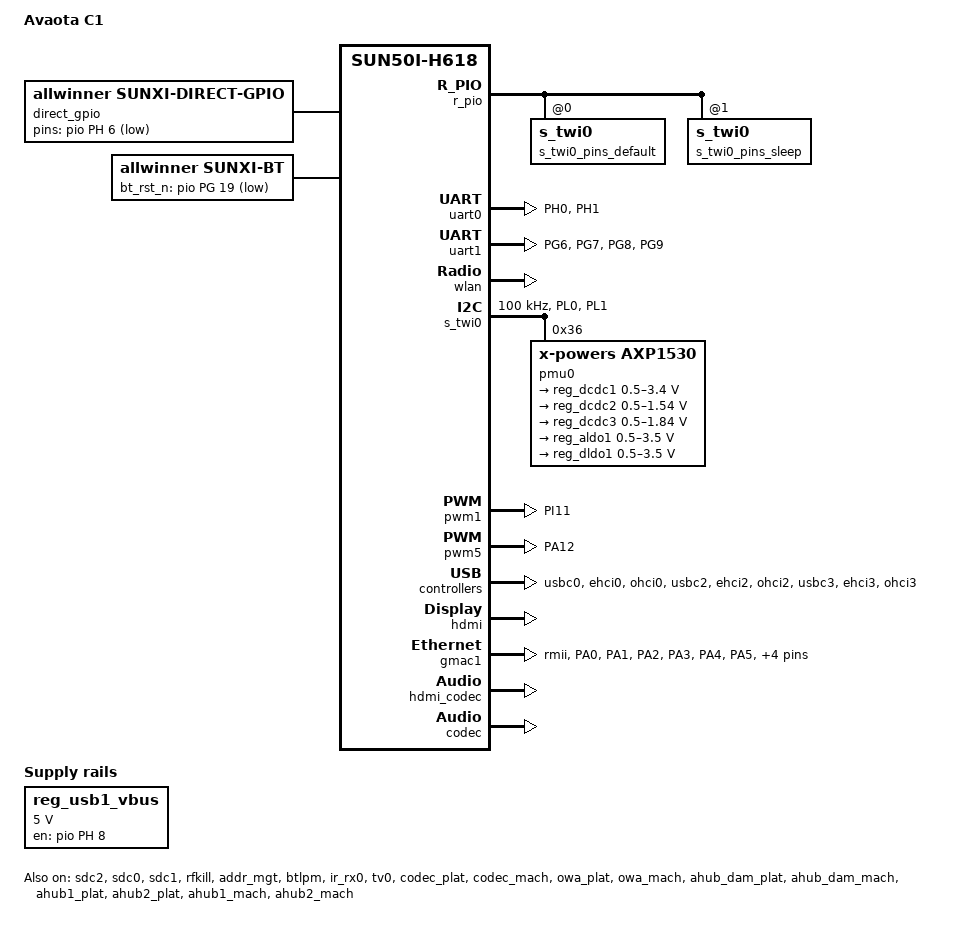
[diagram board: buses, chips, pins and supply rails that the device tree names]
// SPDX-License-Identifier: (GPL-2.0+ or MIT)

/dts-v1/;

#include "sun50i-h618.dtsi"

/{
    model = "Avaota C1";
	board = "H618", "H618-AXP313A";
	compatible = "allwinner,h618", "arm,sun50iw9p1";
	aliases {
		pmu0 = &pmu0;
		standby_param = &standby_param;
		hdmi = &hdmi;
		tv0  = &tv0;
	};

	reg_usb1_vbus: usb1-vbus {
		compatible = "regulator-fixed";
		gpio = <&pio PH 8 GPIO_ACTIVE_HIGH>;
		regulator-name = "usb1-vbus";
		regulator-min-microvolt = <5000000>;
		regulator-max-microvolt = <5000000>;
		regulator-enable-ramp-delay = <1000>;
		enable-active-high;
	};

	ac_power_supply: ac_power_supply {
		compatible = "sunxi-virtual-ac-power-supply";
		status = "okay";
	};
};

&cpu0 {
	cpu-supply = <&reg_dcdc2>;
};

&pio {
	vcc-pg-supply = <&reg_pio1_8>;

	uart0_pins_active: uart0_pins@0 {
		pins = "PH0", "PH1";
		function = "uart0";
		bias-pull-up;
	};

	uart0_pins_sleep: uart0_pins@1 {
		pins = "PH0", "PH1";
		function = "gpio_in";
	};

	uart1_pins_active: uart1_pins@0 {
		pins = "PG6", "PG7", "PG8", "PG9";
		function = "uart1";
	};

	uart1_pins_sleep: uart1_pins@1 {
		pins = "PG6", "PG7", "PG8", "PG9";
		function = "gpio_in";
	};

	uart2_pins_active: uart2_pins@0 {
		pins = "PG15", "PG16", "PG17", "PG18";
		function = "uart2";
	};
	uart2_pins_sleep: uart2_pins@1 {
		pins = "PG15", "PG16", "PG17", "PG18";
		function = "gpio_in";
	};

	uart3_pins_active: uart3_pins@0 {
		pins = "PI9", "PI10", "PI11", "PI12";
		function = "uart3";
	};
	uart3_pins_sleep: uart3_pins@1 {
		pins = "PI9", "PI10", "PI11", "PI12";
		function = "gpio_in";
	};

	uart4_pins_active: uart4_pins@0 {
		pins = "PI13", "PI14", "PI15", "PI16";
		function = "uart4";
	};
	uart4_pins_sleep: uart4_pins@1 {
		pins = "PI13", "PI14", "PI15", "PI16";
		function = "gpio_in";
	};

	uart5_pins_active: uart5_pins@0 {
		pins = "PH2", "PH3";
		function = "uart5";
	};
	uart5_pins_sleep: uart5_pins@1 {
		pins = "PH2", "PH3";
		function = "gpio_in";
	};

	ir_rx0_pins_active: ir_rx0@0 {
		pins = "PH10";
		function = "ir";
	};

	ir_rx0_pins_sleep: ir_rx0@1 {
	        pins = "PH10";
		function = "gpio_in";
	};

	pwm1_pins_active: pwm1@0 {
		pins = "PI11";
		function = "pwm1";
	};

	pwm1_pins_sleep: pwm1@1 {
		pins = "PI11";
		function = "gpio_in";
		bias-pull-down;
	};

	pwm5_pin_active: pwm5@0 {
		pins = "PA12";
		function = "pwm5";
        };

	pwm5_pin_sleep: pwm5@1 {
		pins = "PA12";
		function = "gpio_in";
		bias-pull-down;
	};

	owa_pins_a: owa@0 {
		pins = "PH4";	/* spdif out */
		function = "spdif";
		drive-strength = <20>;
		bias-disable;
	};

	owa_pins_b: owa@1 {
		pins = "PH4";
		function = "gpio_in";
		drive-strength = <20>;
		bias-disable;
	};

	ahub_i2s0_pins_a: ahub_i2s0@0 {
		pins = "PA6", "PA7", "PA8", "PA9";
		function = "i2s0";
		drive-strength = <20>;
		bias-disable;
	};

	ahub_i2s0_pins_b: ahub_i2s0@1 {
		pins = "PA6", "PA7", "PA8", "PA9";
		function = "gpio_in";
		drive-strength = <20>;
		bias-disable;
	};

	ahub_i2s2_pins_a: ahub_i2s2@0 {
		pins = "PG11", "PG12";
		function = "i2s2";
		drive-strength = <20>;
		bias-disable;
	};

	ahub_i2s2_pins_b: ahub_i2s2@1 {
		pins = "PG13";
		function = "i2s2_dout0";
		drive-strength = <20>;
		bias-disable;
	};

	ahub_i2s2_pins_c: ahub_i2s2@2 {
		pins = "PG14";
		function = "i2s2_din0";
		drive-strength = <20>;
		bias-disable;
	};

	ahub_i2s2_pins_d: ahub_i2s2@3 {
		pins = "PG11", "PG12", "PG13", "PG14";
		function = "gpio_in";
		drive-strength = <20>;
		bias-disable;
	};

	ahub_i2s3_pins_a: ahub_i2s3@0 {
		pins = "PH5", "PH6", "PH7";
		function = "i2s3";
		drive-strength = <20>;
		bias-disable;
	};

	ahub_i2s3_pins_b: ahub_i2s3@1 {
		pins = "PH8";
		function = "i2s3_dout0";
		drive-strength = <20>;
		bias-disable;
	};

	ahub_i2s3_pins_c: ahub_i2s3@2 {
		pins = "PH9";
		function = "i2s3_din0";
		drive-strength = <20>;
		bias-disable;
	};

	ahub_i2s3_pins_d: ahub_i2s3@3 {
		pins = "PH5", "PH6", "PH7", "PH8", "PH9";
		function = "gpio_in";
		drive-strength = <20>;
		bias-disable;
	};

	gmac1_pins_default: gmac1@0 {
		pins = "PA0", "PA1", "PA2", "PA3",
			"PA4", "PA5", "PA6", "PA7",
			"PA8", "PA9";
		function = "gmac1";
		drive-strength = <40>;
		bias-pull-up;
	};

	gmac1_pins_sleep: gmac1@1 {
		pins = "PA0", "PA1", "PA2", "PA3",
			"PA4", "PA5", "PA6", "PA7",
			"PA8", "PA9";
		function = "gpio_in";
	};
};

&r_pio {
	s_twi0_pins_default: s_twi0@0 {
		pins = "PL0", "PL1";
		function = "s_twi0";
		drive-strength = <10>;
		bias-pull-up;
	};

	s_twi0_pins_sleep: s_twi0@1 {
		pins = "PL0", "PL1";
		function = "gpio_in";
	};
};

&uart0 {
	pinctrl-names = "default", "sleep";
	pinctrl-0 = <&uart0_pins_active>;
	pinctrl-1 = <&uart0_pins_sleep>;
	status = "okay";
};

&uart1 {
	pinctrl-names = "default", "sleep";
	pinctrl-0 = <&uart1_pins_active>;
	pinctrl-1 = <&uart1_pins_sleep>;
	device_type = "uart1";
	status = "okay";
};

&uart2 {
	pinctrl-names = "default", "sleep";
	pinctrl-0 = <&uart2_pins_active>;
	pinctrl-1 = <&uart2_pins_sleep>;
	status = "disabled";
};

&uart3 {
	pinctrl-names = "default", "sleep";
	pinctrl-0 = <&uart3_pins_active>;
	pinctrl-1 = <&uart3_pins_sleep>;
	status = "disabled";
};

&uart4 {
	pinctrl-names = "default", "sleep";
	pinctrl-0 = <&uart4_pins_active>;
	pinctrl-1 = <&uart4_pins_sleep>;
	status = "disabled";
};

&uart5 {
	pinctrl-names = "default", "sleep";
	pinctrl-0 = <&uart5_pins_active>;
	pinctrl-1 = <&uart5_pins_sleep>;
	status = "disabled";
};

&soc {
	direct_gpio {
		compatible = "allwinner,sunxi-direct-gpio";
		supply-num = <0>;
		gpio-pins = <&pio PH 6 GPIO_ACTIVE_LOW>;
		pin-names = "normal_led";
		init-status = <GPIO_ACTIVE_HIGH>;
		status = "okay";
	};
};

&sdc2 {
	max-frequency = <100000000>;
	ctl-spec-caps = <0x308>;
	bus-width = <8>;
	mmc-ddr-1_8v;
	mmc-hs200-1_8v;
	mmc-hs400-1_8v;
	non-removable;
	no-sdio;
	no-sd;
	cap-mmc-highspeed;
	sunxi-power-save-mode;
	sunxi-dis-signal-vol-sw;
	mmc-bootpart-noacc;
	cap-hsq;
	vmmc-supply = <&reg_dldo1>;
	vqmmc-supply = <&reg_aldo1>;
	status = "okay";
};

&sdc0 {
	max-frequency = <150000000>;
	sd-uhs-sdr50;
	sd-uhs-ddr50;
	sd-uhs-sdr104;
	cd-used-24M;
	cd-set-debounce = <0x1>;
	cap-sd-highspeed;
	no-sdio;
	no-mmc;
	sunxi-power-save-mode;
	ctl-spec-caps = <0x428>;
	vmmc-supply = <&reg_dldo1>;
	vqmmc33sw-supply = <&reg_dldo1>;
	vdmmc33sw-supply = <&reg_dldo1>;
	vqmmc18sw-supply = <&reg_aldo1>;
	vdmmc18sw-supply = <&reg_aldo1>;
	cd-gpios = <&pio PF 6 (GPIO_ACTIVE_LOW | GPIO_PULL_UP)>;
	status = "okay";
};

&sdc1 {
	max-frequency = <150000000>;
	pinctrl-0 = <&sdc1_pins_a>;
	bus-width = <4>;
	no-mmc;
	no-sd;
	cap-sd-highspeed;
	sd-uhs-sdr12;
	sd-uhs-sdr25;
	sd-uhs-sdr50;
	sd-uhs-ddr50;
	sd-uhs-sdr104;
	/*sunxi-power-save-mode;*/
	sunxi-dis-signal-vol-sw;
	cap-sdio-irq;
	keep-power-in-suspend;
	ignore-pm-notify;
	ctl-spec-caps = <0x8>;
	vmmc-supply = <&reg_dldo1>;
	vqmmc-supply = <&reg_aldo1>;
	status = "okay";
};

&rfkill {
	compatible = "allwinner,sunxi-rfkill";
	chip_en;
	power_en;
	pinctrl-0;
	pinctrl-names;
	clocks;
	status = "okay";

	/* wlan session */
	wlan {
		compatible    = "allwinner,sunxi-wlan";
		clocks;
		clock-names;
		wlan_power;
		wlan_power_vol;
		wlan_busnum   = <0x1>;
		wlan_regon    = <&pio PG 18 GPIO_ACTIVE_HIGH>;
		wlan_hostwake = <&pio PG 15 GPIO_ACTIVE_HIGH>;
		wakeup-source;
	};

	/* bt session */
	bt {
		compatible    = "allwinner,sunxi-bt";
		clocks;
		clock-names;
		bt_power;
		bt_power_vol;
		bt_rst_n      = <&pio PG 19 GPIO_ACTIVE_LOW>;
	};
};

&addr_mgt {
	compatible     = "allwinner,sunxi-addr_mgt";
	type_addr_wifi = <0x0>;
	type_addr_bt   = <0x0>;
	type_addr_eth  = <0x0>;
	status         = "okay";
};

&btlpm {
	compatible  = "allwinner,sunxi-btlpm";
	uart_index  = <0x1>;
	bt_wake     = <&pio PG 17 GPIO_ACTIVE_HIGH>;
	bt_hostwake = <&pio PG 16 GPIO_ACTIVE_HIGH>;
	status      = "okay";
	wakeup-source;
};

&s_twi0 {
	clock-frequency = <100000>;
	pinctrl-0 = <&s_twi0_pins_default>;
	pinctrl-1 = <&s_twi0_pins_sleep>;
	pinctrl-names = "default", "sleep";
	twi_drv_used = <1>;
    no_suspend = <1>;
	status = "okay";

	pmu0: pmu{
		compatible = "x-powers,axp1530";
		reg = <0x36>;
/*		interrupt-parent = <&nmi_intc>;
		interrupts = <0 IRQ_TYPE_LEVEL_LOW>;
		interrupt-controller;
		#interrupt-cells = <1>;*/

		wakeup-source;

		standby_param: standby_param {
			vcc-dram = <0x4>;
		};

		regulators{
			reg_dcdc1: dcdc1 {
				regulator-name = "axp1530-dcdc1";
				regulator-min-microvolt = <500000>;
				regulator-max-microvolt = <3400000>;
				regulator-step-delay-us = <25>;
				regulator-final-delay-us = <50>;
				regulator-always-on;
			};

			reg_dcdc2: dcdc2 {
				regulator-name = "axp1530-dcdc2";
				regulator-min-microvolt = <500000>;
				regulator-max-microvolt = <1540000>;
				regulator-step-delay-us = <25>;
				regulator-final-delay-us = <50>;
				regulator-ramp-delay = <200>; /* FIXME */
				regulator-always-on;
			};

			reg_dcdc3: dcdc3 {
				regulator-name = "axp1530-dcdc3";
				regulator-min-microvolt = <500000>;
				regulator-max-microvolt = <1840000>;
				regulator-step-delay-us = <25>;
				regulator-final-delay-us = <50>;
				regulator-always-on;
			};

			reg_aldo1: ldo1 {
				regulator-name = "axp1530-aldo1";
				regulator-min-microvolt = <500000>;
				regulator-max-microvolt = <3500000>;
				regulator-step-delay-us = <25>;
				regulator-final-delay-us = <50>;
				regulator-always-on;
			};

			reg_dldo1: ldo2 {
				regulator-name = "axp1530-dldo1";
				regulator-min-microvolt = <500000>;
				regulator-max-microvolt = <3500000>;
				regulator-step-delay-us = <25>;
				regulator-final-delay-us = <50>;
				regulator-always-on;
			};
		};

			virtual-dcdc1 {
				compatible = "xpower-vregulator,dcdc1";
				dcdc1-supply = <&reg_dcdc1>;
			};

			virtual-dcdc2 {
				compatible = "xpower-vregulator,dcdc2";
				dcdc2-supply = <&reg_dcdc2>;
			};

			virtual-dcdc3 {
				compatible = "xpower-vregulator,dcdc3";
				dcdc3-supply = <&reg_dcdc3>;
			};

			virtual-aldo1 {
				compatible = "xpower-vregulator,aldo1";
				aldo1-supply = <&reg_aldo1>;
			};

			virtual-dldo1 {
				compatible = "xpower-vregulator,dldo1";
				dldo1-supply = <&reg_dldo1>;
			};
	};
};

&ir_rx0 {
	pinctrl-names = "default", "sleep";
	pinctrl-0 = <&ir_rx0_pins_active>;
	pinctrl-1 = <&ir_rx0_pins_sleep>;
	status = "okay";
};

&pwm1 {
	pinctrl-names = "active", "sleep";
	pinctrl-0 = <&pwm1_pins_active>;
	pinctrl-1 = <&pwm1_pins_sleep>;
	status = "okay";
};

&pwm5 {
        pinctrl-names = "active", "sleep";
        pinctrl-0 = <&pwm5_pin_active>;
        pinctrl-1 = <&pwm5_pin_sleep>;
        status = "okay";
};

&usbc0 {
	device_type = "usbc0";
	usb_port_type = <0x2>;
	usb_detect_type = <0x1>;
	usb_detect_mode = <0x0>;
	usb_id_gpio = <&pio PI 9 GPIO_ACTIVE_HIGH>;
	enable-active-high;
	usb_det_vbus_gpio = <&pio PI 10 GPIO_ACTIVE_HIGH>;
	enable-active-high;
	usb_regulator_io = "nocare";
	usb_wakeup_suspend = <0x0>;
	usb_luns = <0x3>;
	usb_serial_unique = <0>;
	usb_serial_number = "20080411";
	status = "okay";
};

&ehci0 {
	drvvbus-supply = <&reg_usb1_vbus>;
	status = "okay";
};

&ohci0 {
	drvvbus-supply = <&reg_usb1_vbus>;
	status = "okay";
};

&usbc1 {
	device_type = "usbc1";
	usb_regulator_io = "nocare";
	usb_wakeup_suspend = <0x0>;
	status = "disabled";
};

&ehci1 {
	drvvbus-supply = <&reg_usb1_vbus>;
	status = "disabled";
};

&ohci1 {
	drvvbus-supply = <&reg_usb1_vbus>;
	status = "disabled";
};

&usbc2 {
	device_type = "usbc2";
	usb_regulator_io = "nocare";
	usb_wakeup_suspend = <0x1>;
	wakeup-source;
	status = "okay";
};

&ehci2 {
	drvvbus-supply = <&reg_usb1_vbus>;
	status = "okay";
};

&ohci2 {
	drvvbus-supply = <&reg_usb1_vbus>;
	status = "okay";
};

&usbc3 {
	device_type = "usbc3";
	usb_regulator_io = "nocare";
	usb_wakeup_suspend = <0x0>;
	status = "okay";
};

&ehci3 {
	drvvbus-supply = <&reg_usb1_vbus>;
	status = "okay";
};

&ohci3 {
	drvvbus-supply = <&reg_usb1_vbus>;
	status = "okay";
};

&hdmi {
	hdmi_used = <1>;
	aldo1-supply = <&reg_aldo1>;
	dcdc1-supply = <&reg_dcdc1>;
	hdmi_power_cnt = <2>;
	hdmi_power0 = "aldo1";
	hdmi_power1 = "dcdc1";
	hdmi_hdcp_enable = <1>;
	hdmi_hdcp22_enable = <1>;
	hdmi_cts_compatibility = <0>;
	hdmi_cec_support = <1>;
	hdmi_cec_super_standby = <0>;

	ddc_en_io_ctrl = <0>;
	power_io_ctrl = <0>;

	status = "okay";
};

&disp {
	disp_init_enable         = <1>;
	disp_mode                = <0>;

	screen0_output_type      = <3>;
	screen0_output_mode      = <10>;
	screen0_output_format    = <0>;
	screen0_output_bits      = <0>;
	screen0_output_eotf      = <4>;
	screen0_output_cs        = <257>;
	screen0_output_dvi_hdmi  = <2>;
	screen0_output_range     = <2>;
	screen0_output_scan      = <0>;
	screen0_output_aspect_ratio = <8>;

	screen1_output_type      = <2>;
	screen1_output_mode      = <11>;
	screen1_output_format    = <1>;
	screen1_output_bits      = <0>;
	screen1_output_eotf      = <4>;
	screen1_output_cs        = <260>;
	screen1_output_dvi_hdmi  = <0>;
	screen1_output_range     = <2>;
	screen1_output_scan      = <0>;
	screen1_output_aspect_ratio = <8>;
	dev0_output_type         = <4>;
	dev0_output_mode         = <10>;
	dev0_screen_id           = <0>;
	dev0_do_hpd              = <1>;

	dev1_output_type         = <2>;
	dev1_output_mode         = <11>;
	dev1_screen_id           = <1>;
	dev1_do_hpd              = <1>;

	dev2_output_type         = <0>;
	def_output_dev           = <0>;
	hdmi_mode_check          = <1>;

	fb_format                = <0>;
	fb_num                   = <1>;
	fb_debug                 = <1>;
	/*<disp channel layer zorder>*/
	fb0_map                  = <0 1 0 16>;
	fb0_width                = <1280>;
	fb0_height               = <720>;
	/*<disp channel layer zorder>*/
	fb1_map                  = <0 2 0 16>;
	fb1_width                = <300>;
	fb1_height               = <300>;
	/*<disp channel layer zorder>*/
	fb2_map                  = <1 0 0 16>;
	fb2_width                = <1280>;
	fb2_height               = <720>;
	/*<disp channel layer zorder>*/
	fb3_map                  = <1 1 0 16>;
	fb3_width                = <300>;
	fb3_height               = <300>;

	chn_cfg_mode             = <1>;
	disp_para_zone           = <1>;
};

&lcd0 {
	lcd_used            = <0>;

	lcd_driver_name     = "default_lcd";
	lcd_backlight       = <50>;
	lcd_if              = <0>;

	lcd_x               = <1280>;
	lcd_y               = <720>;
	lcd_width           = <150>;
	lcd_height          = <94>;
	lcd_dclk_freq       = <70>;

	lcd_pwm_used        = <0>;
	lcd_pwm_ch          = <0>;
	lcd_pwm_freq        = <50000>;
	lcd_pwm_pol         = <0>;
	lcd_pwm_max_limit   = <255>;

	lcd_hbp             = <20>;
	lcd_ht              = <1418>;
	lcd_hspw            = <10>;
	lcd_vbp             = <10>;
	lcd_vt              = <814>;
	lcd_vspw            = <5>;

	lcd_lvds_if         = <0>;
	lcd_lvds_colordepth = <0>;
	lcd_lvds_mode       = <0>;
	lcd_frm             = <0>;
	lcd_hv_clk_phase    = <0>;
	lcd_hv_sync_polarity= <0>;
	lcd_gamma_en        = <0>;
	lcd_bright_curve_en = <0>;
	lcd_cmap_en         = <0>;

	deu_mode            = <0>;
	lcdgamma4iep        = <22>;
	smart_color         = <90>;

	lcd_pin_power = "bldo1";

	lcd_power = "dc1sw";
	/*lcd_bl_en        = <&pio PD 27 1 0 3 1>;*/
	/*pinctrl-0 = <&rgb24_pins_a>;
	pinctrl-1 = <&rgb24_pins_b>;*/
};

&tv0 {
	interface       = <1>;
	dac_type0       = <0>;
	dac_src0        = <0>;

	status =  "okay";
};

&gpu {
	gpu_idle = <1>;
	dvfs_status = <1>;
	operating-points = <
		/* KHz   uV */
		648000 960000
		600000 900000
		552000 900000
		504000 900000
		456000 900000
		420000 900000
	>;
};

&gmac1 {
	phy-mode = "rmii";
	pinctrl-0 = <&gmac1_pins_default>;
	pinctrl-1 = <&gmac1_pins_sleep>;
	pinctrl-names = "default", "sleep";
	sunxi,pwm-channel = <5>;
	status = "okay";
};

&hdmi_codec {
    extcon = <&hdmi>;
    status = "okay";
};

/* audio dirver module -> audio codec */
&codec {
	lineout-vol		= <31>;
	ramp-en;
	/* note:ramp time range:[1-8],high value matches long time */
	ramp-time-up		= <5>;
	ramp-time-down		= <5>;
	tx-hub-en;
	status		= "okay";
};

&codec_plat {
	status		= "okay";
};

&codec_mach {
	status		= "okay";
};

/* audio dirver module -> owa */
&owa_plat {
	pinctrl-used;
	pinctrl-names	= "default","sleep";
	pinctrl-0	= <&owa_pins_a>;
	pinctrl-1	= <&owa_pins_b>;
	tx-hub-en;
	status		= "okay";
};

&owa_mach {
	status		= "okay";
};

/* audio dirver module -> audio hub */
&ahub_dam_plat {
	status		= "okay";
};

&ahub_dam_mach {
	status		= "okay";
};

&ahub0_plat {
	tdm-num		= <0>;
	tx-pin		= <0>;
	rx-pin		= <0>;
	/* pinctrl-used;
	/* pinctrl-names	= "default","sleep"; */
	/* pinctrl-0	= <&ahub_i2s0_pins_a>; */
	/* pinctrl-1	= <&ahub_i2s0_pins_b>; */
	status		= "disabled";
};

&ahub1_plat {
	tdm-num		= <1>;
	tx-pin		= <0>;
	rx-pin		= <0>;
	dai-type	= "hdmi";
	/* pinctrl-used; */
	/* pinctrl-names	= "default","sleep"; */
	/* pinctrl-0		= <&ahub_i2s1_pins_a>; */
	/* pinctrl-1		= <&ahub_i2s1_pins_b>; */
	status		= "okay";
};

&ahub2_plat {
	tdm-num		= <2>;
	tx-pin		= <0>;
	rx-pin		= <0>;
	pinctrl-used;
	pinctrl-names	= "default","sleep";
	pinctrl-0	= <&ahub_i2s2_pins_a &ahub_i2s2_pins_b &ahub_i2s2_pins_c>;
	pinctrl-1	= <&ahub_i2s2_pins_d>;
	status		= "okay";
};

&ahub3_plat {
	tdm-num		= <3>;
	tx-pin		= <0>;
	rx-pin		= <0>;
	/* pinctrl-used; */
	/* pinctrl-names	= "default","sleep"; */
	/* pinctrl-0	= <&ahub_i2s3_pins_a &ahub_i2s3_pins_b &ahub_i2s3_pins_c>; */
	/* pinctrl-1	= <&ahub_i2s3_pins_d>; */
	status		= "disabled";
};

&ahub0_mach {
	soundcard-mach,format		= "i2s";
	soundcard-mach,frame-master	= <&ahub0_cpu>;
	soundcard-mach,bitclock-master	= <&ahub0_cpu>;
	/* soundcard-mach,frame-inversion; */
	/* soundcard-mach,bitclock-inversion; */
	soundcard-mach,slot-num		= <2>;
	soundcard-mach,slot-width	= <32>;
	soundcard-mach,capture-only;
	status				= "disabled";
	ahub0_cpu: soundcard-mach,cpu {
		sound-dai	= <&ahub0_plat>;
		soundcard-mach,pll-fs	= <4>;	/* pll freq = 24.576M or 22.5792M * pll-fs */
		soundcard-mach,mclk-fs	= <256>;/* mclk freq = pcm rate * mclk-fs */
	};
	ahub0_codec: soundcard-mach,codec {
	};
};

&ahub1_mach {
	soundcard-mach,format		= "i2s";
	soundcard-mach,frame-master	= <&ahub1_cpu>;
	soundcard-mach,bitclock-master	= <&ahub1_cpu>;
	/* soundcard-mach,frame-inversion; */
	/* soundcard-mach,bitclock-inversion; */
	soundcard-mach,slot-num		= <2>;
	soundcard-mach,slot-width	= <32>;
	status				= "okay";
	ahub1_cpu: soundcard-mach,cpu {
		sound-dai		= <&ahub1_plat>;
		soundcard-mach,pll-fs	= <4>;
		soundcard-mach,mclk-fs	= <0>;
	};
	ahub1_codec: soundcard-mach,codec {
		sound-dai	= <&hdmi_codec>;
	};
};

&ahub2_mach {
	soundcard-mach,format		= "i2s";
	soundcard-mach,frame-master	= <&ahub2_cpu>;
	soundcard-mach,bitclock-master	= <&ahub2_cpu>;
	/* soundcard-mach,frame-inversion; */
	/* soundcard-mach,bitclock-inversion; */
	soundcard-mach,slot-num		= <2>;
	soundcard-mach,slot-width	= <32>;
	status				= "okay";
	ahub2_cpu: soundcard-mach,cpu {
		sound-dai		= <&ahub2_plat>;
		soundcard-mach,pll-fs	= <4>;
		soundcard-mach,mclk-fs	= <256>;
	};
	ahub2_codec: soundcard-mach,codec {
	};
};

&ahub3_mach {
	soundcard-mach,format		= "i2s";
	soundcard-mach,frame-master	= <&ahub3_cpu>;
	soundcard-mach,bitclock-master	= <&ahub3_cpu>;
	/* soundcard-mach,frame-inversion; */
	/* soundcard-mach,bitclock-inversion; */
	soundcard-mach,slot-num		= <2>;
	soundcard-mach,slot-width	= <32>;
	status				= "disabled";
	ahub3_cpu: soundcard-mach,cpu {
		sound-dai		= <&ahub3_plat>;
		soundcard-mach,pll-fs	= <4>;
		soundcard-mach,mclk-fs	= <256>;
	};
	ahub3_codec: soundcard-mach,codec {
	};
};

&cpu_thermal_zone {
	cpu_trips: trips {
		cpu_crit: cpu_crit@0 {
			temperature = <115000>;
			type = "critical";
			hysteresis = <0>;
		};
	};
};

&gpu_thermal_zone {
	gpu_trips: trips {
		gpu_crit: gpu_crit@0 {
			temperature = <115000>;
			type = "critical";
			hysteresis = <0>;
		};
	};
};
